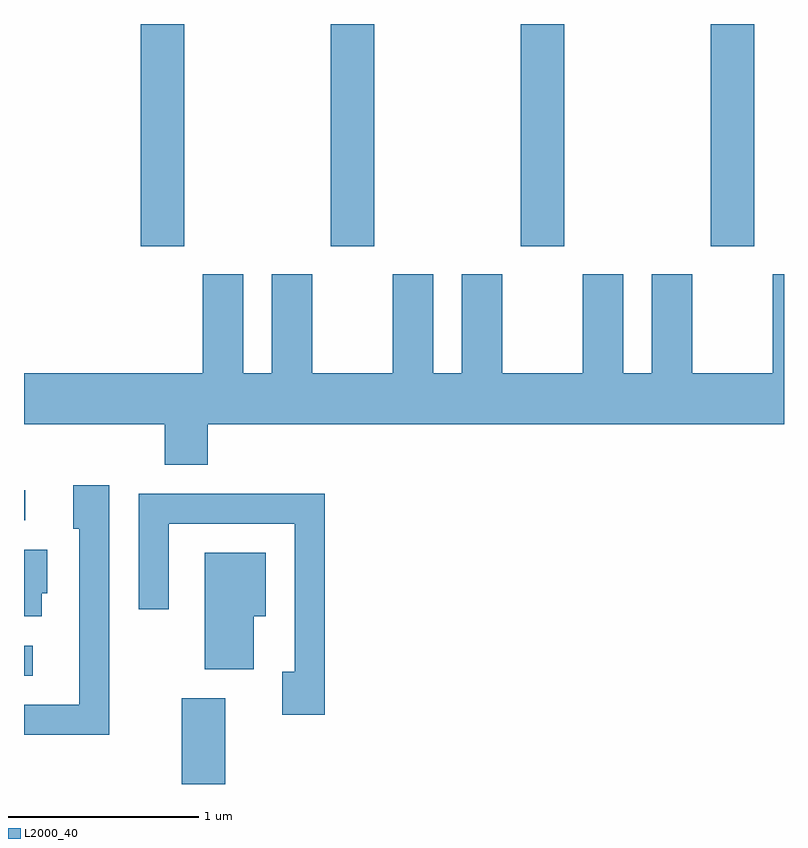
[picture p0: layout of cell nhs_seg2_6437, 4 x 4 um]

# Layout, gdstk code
import gdstk
lib = gdstk.Library(unit=1e-6, precision=1e-09)
def R(c, l, rs):  # rectangles x0, y0, x1, y1
    for r in rs: c.add(gdstk.rectangle(r[:2], r[2:], *l))
def A(c, l, x, y, w, h, nx, ny, dx, dy):  # array of equal rectangles
    R(c, l, [(x+i*dx, y+j*dy, x+i*dx+w, y+j*dy+h) for i in range(nx) for j in range(ny)])
def P(c, l, *ps):  # polygons
    for p in ps: c.add(gdstk.Polygon(p, *l))
L2000_40 = (2000, 40)

nhs_seg2_6437 = lib.new_cell('nhs_seg2_6437')
A(nhs_seg2_6437, L2000_40, 376.226, 1002.631, 0.228, 1.171, 4, 1, 1, 0)
R(nhs_seg2_6437, L2000_40, [(376.441,999.802,376.669,1000.254), (375.611,1000.371,375.658,1000.529), (375.611,1001.191,375.618,1001.349)])
P(nhs_seg2_6437, L2000_40, [(376.579,1001.696),(379.611,1001.696),(379.611,1002.484),(379.551,1002.484),(379.551,1001.964),(379.129,1001.964),(379.129,1002.484),(378.916,1002.484),(378.916,1001.964),(378.764,1001.964),(378.764,1002.484),(378.551,1002.484),(378.551,1001.964),(378.129,1001.964),(378.129,1002.484),(377.916,1002.484),(377.916,1001.964),(377.764,1001.964),(377.764,1002.484),(377.551,1002.484),(377.551,1001.964),(377.129,1001.964),(377.129,1002.484),(376.916,1002.484),(376.916,1001.964),(376.764,1001.964),(376.764,1002.484),(376.551,1002.484),(376.551,1001.964),(375.611,1001.964),(375.611,1001.696),(376.351,1001.696),(376.351,1001.481),(376.579,1001.481)],
  [(376.059,1001.374),(375.871,1001.374),(375.871,1001.146),(375.901,1001.146),(375.901,1000.219),(375.611,1000.219),(375.611,1000.061),(376.059,1000.061)],
  [(377.194,1001.329),(376.216,1001.329),(376.216,1000.723),(376.374,1000.723),(376.374,1001.171),(377.036,1001.171),(377.036,1000.394),(376.971,1000.394),(376.971,1000.166),(377.194,1000.166)],
  [(375.704,1000.806),(375.734,1000.806),(375.734,1001.034),(375.611,1001.034),(375.611,1000.686),(375.704,1000.686)],
  [(376.819,1000.686),(376.884,1000.686),(376.884,1001.019),(376.561,1001.019),(376.561,1000.406),(376.819,1000.406)])

lib.write_gds('nhs_seg2_6437.gds')
